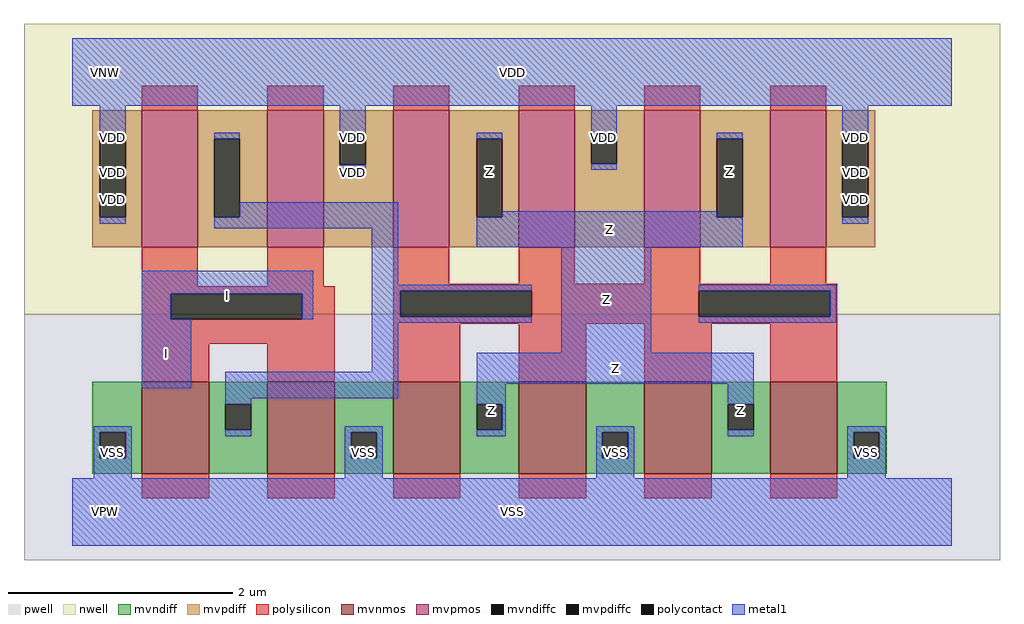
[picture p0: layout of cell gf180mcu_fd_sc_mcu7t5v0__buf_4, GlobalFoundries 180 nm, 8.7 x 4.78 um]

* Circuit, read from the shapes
.subckt gf180mcu_fd_sc_mcu7t5v0__buf_4 I Z VDD VNW VPW VSS
XM1 n1 I VSS VPW nfet_06v0 w=0.82u l=0.6u m=2
XM2 Z n1 VSS VPW nfet_06v0 w=0.82u l=0.6u m=4
XM3 n1 I VDD VNW pfet_06v0 w=1.22u l=0.5u m=2
XM4 Z n1 VDD VNW pfet_06v0 w=1.22u l=0.5u m=4
.ends

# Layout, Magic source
magic
tech gf180mcuD
magscale 1 10
<< nwell >>
rect -86 352 1654 870
<< pwell >>
rect -86 -86 1654 352
<< mvnmos >>
rect 124 68 244 232
rect 348 68 468 232
rect 572 68 692 232
rect 796 68 916 232
rect 1020 68 1140 232
rect 1244 68 1364 232
<< mvpmos >>
rect 124 472 224 716
rect 348 472 448 716
rect 572 472 672 716
rect 796 472 896 716
rect 1020 472 1120 716
rect 1244 472 1344 716
<< mvndiff >>
rect 36 142 124 232
rect 36 96 49 142
rect 95 96 124 142
rect 36 68 124 96
rect 244 192 348 232
rect 244 146 273 192
rect 319 146 348 192
rect 244 68 348 146
rect 468 142 572 232
rect 468 96 497 142
rect 543 96 572 142
rect 468 68 572 96
rect 692 192 796 232
rect 692 146 721 192
rect 767 146 796 192
rect 692 68 796 146
rect 916 142 1020 232
rect 916 96 945 142
rect 991 96 1020 142
rect 916 68 1020 96
rect 1140 192 1244 232
rect 1140 146 1169 192
rect 1215 146 1244 192
rect 1140 68 1244 146
rect 1364 142 1452 232
rect 1364 96 1393 142
rect 1439 96 1452 142
rect 1364 68 1452 96
<< mvpdiff >>
rect 36 665 124 716
rect 36 525 49 665
rect 95 525 124 665
rect 36 472 124 525
rect 224 665 348 716
rect 224 525 253 665
rect 299 525 348 665
rect 224 472 348 525
rect 448 665 572 716
rect 448 619 477 665
rect 523 619 572 665
rect 448 472 572 619
rect 672 665 796 716
rect 672 525 721 665
rect 767 525 796 665
rect 672 472 796 525
rect 896 667 1020 716
rect 896 621 925 667
rect 971 621 1020 667
rect 896 472 1020 621
rect 1120 665 1244 716
rect 1120 525 1149 665
rect 1195 525 1244 665
rect 1120 472 1244 525
rect 1344 665 1432 716
rect 1344 525 1373 665
rect 1419 525 1432 665
rect 1344 472 1432 525
<< mvndiffc >>
rect 49 96 95 142
rect 273 146 319 192
rect 497 96 543 142
rect 721 146 767 192
rect 945 96 991 142
rect 1169 146 1215 192
rect 1393 96 1439 142
<< mvpdiffc >>
rect 49 525 95 665
rect 253 525 299 665
rect 477 619 523 665
rect 721 525 767 665
rect 925 621 971 667
rect 1149 525 1195 665
rect 1373 525 1419 665
<< polysilicon >>
rect 124 716 224 760
rect 348 716 448 760
rect 572 716 672 760
rect 796 716 896 760
rect 1020 716 1120 760
rect 1244 716 1344 760
rect 124 402 224 472
rect 348 402 448 472
rect 572 407 672 472
rect 796 407 896 472
rect 1020 407 1120 472
rect 1244 407 1344 472
rect 124 389 468 402
rect 124 343 176 389
rect 410 343 468 389
rect 124 300 468 343
rect 124 232 244 300
rect 348 232 468 300
rect 572 394 1364 407
rect 572 348 585 394
rect 819 348 1117 394
rect 1351 348 1364 394
rect 572 335 1364 348
rect 572 232 692 335
rect 796 232 916 335
rect 1020 232 1140 335
rect 1244 232 1364 335
rect 124 24 244 68
rect 348 24 468 68
rect 572 24 692 68
rect 796 24 916 68
rect 1020 24 1140 68
rect 1244 24 1364 68
<< polycontact >>
rect 176 343 410 389
rect 585 348 819 394
rect 1117 348 1351 394
<< metal1 >>
rect 0 724 1568 844
rect 49 665 95 724
rect 49 514 95 525
rect 253 665 299 676
rect 477 665 523 724
rect 477 600 523 619
rect 721 665 767 676
rect 299 525 581 552
rect 253 506 581 525
rect 124 389 430 430
rect 124 343 176 389
rect 410 343 430 389
rect 534 405 581 506
rect 925 667 971 724
rect 925 610 971 621
rect 1149 665 1195 676
rect 767 525 1149 536
rect 721 472 1195 525
rect 1373 665 1419 724
rect 1373 514 1419 525
rect 534 394 819 405
rect 534 348 585 394
rect 124 220 212 343
rect 534 337 819 348
rect 534 250 581 337
rect 872 284 1032 472
rect 1117 394 1362 405
rect 1351 348 1362 394
rect 1117 337 1362 348
rect 273 203 581 250
rect 721 228 1215 284
rect 273 192 319 203
rect 38 142 106 153
rect 38 96 49 142
rect 95 96 106 142
rect 721 192 773 228
rect 273 135 319 146
rect 486 142 554 153
rect 38 60 106 96
rect 486 96 497 142
rect 543 96 554 142
rect 767 146 773 192
rect 1169 192 1215 228
rect 721 135 773 146
rect 934 142 1002 153
rect 486 60 554 96
rect 934 96 945 142
rect 991 96 1002 142
rect 1169 135 1215 146
rect 1382 142 1450 153
rect 934 60 1002 96
rect 1382 96 1393 142
rect 1439 96 1450 142
rect 1382 60 1450 96
rect 0 -60 1568 60
<< labels >>
flabel metal1 s 1149 536 1195 676 0 FreeSans 600 0 0 0 Z
port 2 nsew default output
flabel metal1 s 124 343 430 430 0 FreeSans 600 0 0 0 I
port 1 nsew default input
flabel metal1 s 0 724 1568 844 0 FreeSans 400 0 0 0 VDD
port 3 nsew power bidirectional abutment
flabel metal1 s 1382 60 1450 153 0 FreeSans 400 0 0 0 VSS
port 6 nsew ground bidirectional abutment
flabel nwell s 10 734 110 834 0 FreeSans 400 0 0 0 VNW
port 4 nsew power bidirectional
flabel pwell s 10 -50 110 50 0 FreeSans 400 0 0 0 VPW
port 5 nsew ground bidirectional
rlabel metal1 s 124 220 212 343 1 I
port 1 nsew default input
rlabel metal1 s 721 536 767 676 1 Z
port 2 nsew default output
rlabel metal1 s 721 472 1195 536 1 Z
port 2 nsew default output
rlabel metal1 s 872 284 1032 472 1 Z
port 2 nsew default output
rlabel metal1 s 721 228 1215 284 1 Z
port 2 nsew default output
rlabel metal1 s 1169 135 1215 228 1 Z
port 2 nsew default output
rlabel metal1 s 721 135 773 228 1 Z
port 2 nsew default output
rlabel metal1 s 1373 610 1419 724 1 VDD
port 3 nsew power bidirectional abutment
rlabel metal1 s 925 610 971 724 1 VDD
port 3 nsew power bidirectional abutment
rlabel metal1 s 477 610 523 724 1 VDD
port 3 nsew power bidirectional abutment
rlabel metal1 s 49 610 95 724 1 VDD
port 3 nsew power bidirectional abutment
rlabel metal1 s 1373 600 1419 610 1 VDD
port 3 nsew power bidirectional abutment
rlabel metal1 s 477 600 523 610 1 VDD
port 3 nsew power bidirectional abutment
rlabel metal1 s 49 600 95 610 1 VDD
port 3 nsew power bidirectional abutment
rlabel metal1 s 1373 514 1419 600 1 VDD
port 3 nsew power bidirectional abutment
rlabel metal1 s 49 514 95 600 1 VDD
port 3 nsew power bidirectional abutment
rlabel metal1 s 934 60 1002 153 1 VSS
port 6 nsew ground bidirectional abutment
rlabel metal1 s 486 60 554 153 1 VSS
port 6 nsew ground bidirectional abutment
rlabel metal1 s 38 60 106 153 1 VSS
port 6 nsew ground bidirectional abutment
rlabel metal1 s 0 -60 1568 60 1 VSS
port 6 nsew ground bidirectional abutment
<< properties >>
string FIXED_BBOX 0 0 1568 784
string GDS_END 1344114
string GDS_FILE $PDKPATH/libs.ref/gf180mcu_fd_sc_mcu7t5v0/gds/gf180mcu_fd_sc_mcu7t5v0.gds
string GDS_START 1339742
string LEFclass core
string LEFsite GF018hv5v_mcu_sc7
string LEFsymmetry X Y
<< end >>
